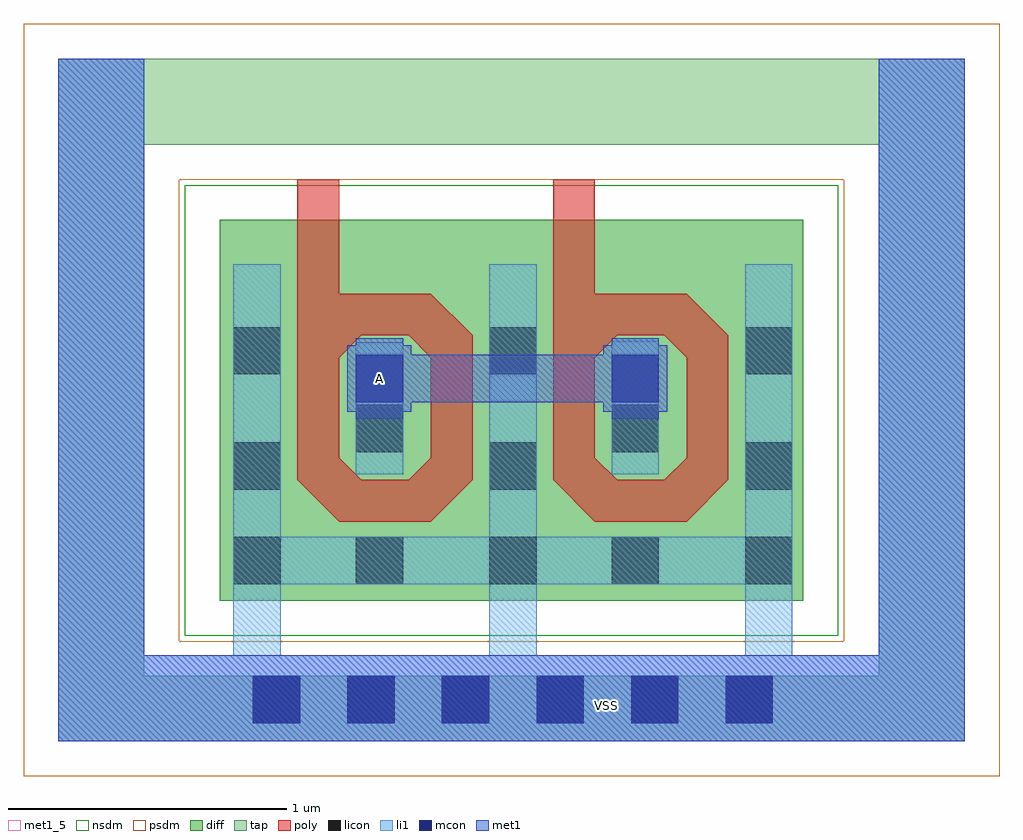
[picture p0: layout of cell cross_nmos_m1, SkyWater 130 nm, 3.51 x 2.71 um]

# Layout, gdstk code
import gdstk
lib = gdstk.Library(unit=1e-6, precision=1e-09)
def R(c, l, rs):  # rectangles x0, y0, x1, y1
    for r in rs: c.add(gdstk.rectangle(r[:2], r[2:], *l))
def A(c, l, x, y, w, h, nx, ny, dx, dy):  # array of equal rectangles
    R(c, l, [(x+i*dx, y+j*dy, x+i*dx+w, y+j*dy+h) for i in range(nx) for j in range(ny)])
def P(c, l, *ps):  # polygons
    for p in ps: c.add(gdstk.Polygon(p, *l))
diff = (65, 20)
tap = (65, 44)
poly = (66, 20)
licon = (66, 44)
li1 = (67, 20)
mcon = (67, 44)
met1_5 = (68, 5)
met1 = (68, 20)
nsdm = (93, 44)
psdm = (94, 20)

cross_nmos_m1 = lib.new_cell('cross_nmos_m1')
R(cross_nmos_m1, diff, [(0,0.505,2.1,1.875)])
R(cross_nmos_m1, tap, [(-0.58,0,2.68,0.235), (-0.58,0.235,-0.27,2.145), (2.37,0.235,2.68,2.145), (-0.58,2.145,2.68,2.455)])
R(cross_nmos_m1, poly, [(0.43,0.79,0.76,0.94), (1.35,0.79,1.68,0.94), (0.28,0.94,0.43,1.46), (0.76,0.94,0.91,1.46), (1.2,0.94,1.35,1.46), (1.68,0.94,1.83,1.46), (0.28,1.46,0.76,1.61), (1.2,1.46,1.68,1.61), (0.28,1.61,0.43,2.02), (1.2,1.61,1.35,2.02)])
P(cross_nmos_m1, poly, [(0.76,1.61),(0.76,1.46),(0.91,1.46)],
  [(0.43,1.38),(0.43,1.46),(0.51,1.46)],
  [(0.68,1.46),(0.76,1.46),(0.76,1.38)],
  [(0.43,1.02),(0.43,0.94),(0.51,0.94)],
  [(0.68,0.94),(0.76,0.94),(0.76,1.02)],
  [(0.28,0.94),(0.43,0.94),(0.43,0.79)],
  [(0.76,0.79),(0.76,0.94),(0.91,0.94)],
  [(1.68,1.61),(1.68,1.46),(1.83,1.46)],
  [(1.35,1.38),(1.35,1.46),(1.43,1.46)],
  [(1.6,1.46),(1.68,1.46),(1.68,1.38)],
  [(1.35,1.02),(1.35,0.94),(1.43,0.94)],
  [(1.6,0.94),(1.68,0.94),(1.68,1.02)],
  [(1.2,0.94),(1.35,0.94),(1.35,0.79)],
  [(1.68,0.79),(1.68,0.94),(1.83,0.94)])
A(cross_nmos_m1, licon, 0.12, 0.065, 0.17, 0.17, 6, 1, 0.34, 0)
A(cross_nmos_m1, licon, 0.05, 0.905, 0.17, 0.17, 3, 2, 0.92, 0.415)
R(cross_nmos_m1, licon, [(0.05,0.565,0.22,0.735), (0.49,0.565,0.66,0.735), (0.97,0.565,1.14,0.735), (1.41,0.565,1.58,0.735), (1.89,0.565,2.06,0.735), (0.49,1.04,0.66,1.21), (1.41,1.04,1.58,1.21)])
A(cross_nmos_m1, li1, 0.05, 0.31, 0.17, 0.255, 3, 1, 0.92, 0)
A(cross_nmos_m1, li1, 0.05, 0.735, 0.17, 0.98, 3, 1, 0.92, 0)
R(cross_nmos_m1, li1, [(-0.58,0,2.68,0.31), (-0.58,0.31,-0.27,2.455), (2.37,0.31,2.68,2.455), (0.05,0.565,2.06,0.735), (0.49,0.96,0.66,1.435), (1.41,0.96,1.58,1.44)])
A(cross_nmos_m1, mcon, 0.12, 0.065, 0.17, 0.17, 6, 1, 0.34, 0)
R(cross_nmos_m1, mcon, [(0.49,1.22,0.66,1.39), (1.41,1.22,1.58,1.39)])
R(cross_nmos_m1, met1_5, [(0.49,1.22,0.66,1.39)])
R(cross_nmos_m1, met1, [(-0.58,0,2.68,0.31), (-0.58,0.31,-0.27,2.455), (2.37,0.31,2.68,2.455), (0.49,1.16,0.66,1.185), (1.41,1.16,1.58,1.185), (0.46,1.185,0.69,1.22), (1.38,1.185,1.61,1.22), (0.46,1.22,1.61,1.39), (0.46,1.39,0.69,1.425), (1.38,1.39,1.61,1.425), (0.49,1.425,0.66,1.45), (1.41,1.425,1.58,1.45)])
R(cross_nmos_m1, nsdm, [(-0.125,0.38,2.225,2)])
R(cross_nmos_m1, psdm, [(-0.705,-0.125,2.805,0.36), (-0.705,0.36,-0.145,2.02), (2.245,0.36,2.805,2.02), (-0.705,2.02,2.805,2.58)])
cross_nmos_m1.add(gdstk.Label('A', (0.575,1.305), layer=68, texttype=5))
cross_nmos_m1.add(gdstk.Label('VSS', (1.39,0.13), layer=68, texttype=5))

lib.write_gds('cross_nmos_m1.gds')
